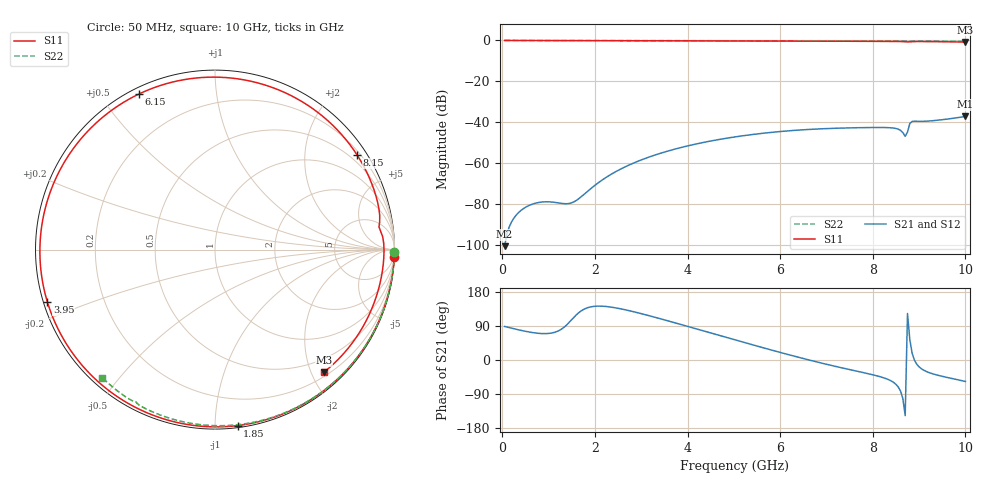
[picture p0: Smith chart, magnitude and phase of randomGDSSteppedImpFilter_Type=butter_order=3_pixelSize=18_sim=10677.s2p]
! freq	dB(S11)	phase(S11)	dB(S12)	phase(S12)
!  dB(S21)	phase(S21)	dB(S22)	phase(S22)
!S-par simulation data
#  GHz  S  DB  R 50
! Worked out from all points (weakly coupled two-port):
!   200 points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, 50 MHz to 10 GHz, reference 50 ohm
!   highest |S21| = -37.26 dB at 10 GHz (marker M1); lowest = -100.8 dB at 50 MHz (marker M2)
!   lowest |S11| = -0.8 dB at 10 GHz (marker M3), VSWR 22.19, Z = 13.3 - j110 ohm
!   |S11| at or under -10 dB: nowhere
!   |S22| runs from -0.4 to 0.0 dB; largest |S21 - S12| = 0
!   S11 on the Smith chart (normalised r, x): 50 MHz: 0, -49; 1.85 GHz: 0.01, -1.14; 3.95 GHz: 0.01, -0.15; 6.15 GHz: 0.02, +0.62; 8.15 GHz: 0.30, +3.28; 10 GHz: 0.27, -2.20
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0.05  -0.00 -2.4  -100.81 88.5  -100.81 88.5  -0.00 -0.8
0.65  -0.04 -30.1  -80.21 72.4  -80.21 72.4  -0.01 -9.8
1.4  -0.08 -63.6  -80.00 93.7  -80.00 93.7  -0.03 -21.0
1.75  -0.10 -78.5  -75.72 133.1  -75.72 133.1  -0.03 -26.2
1.85  -0.10 -82.7  -73.77 138.3  -73.77 138.3  -0.04 -27.7
2.5  -0.13 -108.8  -63.68 136.4  -63.68 136.4  -0.05 -37.1
3.4  -0.16 -142.7  -55.39 109.3  -55.39 109.3  -0.07 -49.9
3.95  -0.19 -162.7  -51.96 90.5  -51.96 90.5  -0.08 -57.5
4.5  -0.22 177.5  -49.28 71.3  -49.28 71.3  -0.09 -64.9
5.05  -0.25 157.6  -47.18 52.2  -47.18 52.2  -0.11 -72.2
6.15  -0.31 116.2  -44.34 15.1  -44.34 15.1  -0.15 -86.2
6.7  -0.34 94.4  -43.51 -2.3  -43.51 -2.3  -0.18 -93.0
7.4  -0.38 65.6  -42.89 -22.6  -42.89 -22.6  -0.22 -101.5
8.15  -0.44 33.6  -42.64 -43.8  -42.64 -43.8  -0.27 -110.3
8.35  -0.46 24.9  -42.74 -52.4  -42.74 -52.4  -0.29 -112.7
8.6  -0.53 13.9  -44.06 -82.1  -44.06 -82.1  -0.31 -115.7
8.7  -0.63 9.5  -46.97 -146.9  -46.97 -146.9  -0.35 -116.9
8.75  -0.70 7.9  -44.89 122.8  -44.89 122.8  -0.39 -117.4
8.8  -0.65 6.5  -40.72 53.6  -40.72 53.6  -0.39 -117.6
8.85  -0.56 4.3  -39.68 17.8  -39.68 17.8  -0.37 -118.1
9.4  -0.60 -20.7  -39.09 -40.1  -39.09 -40.1  -0.38 -124.5
10  -0.78 -48.3  -37.26 -56.6  -37.26 -56.6  -0.45 -131.3
